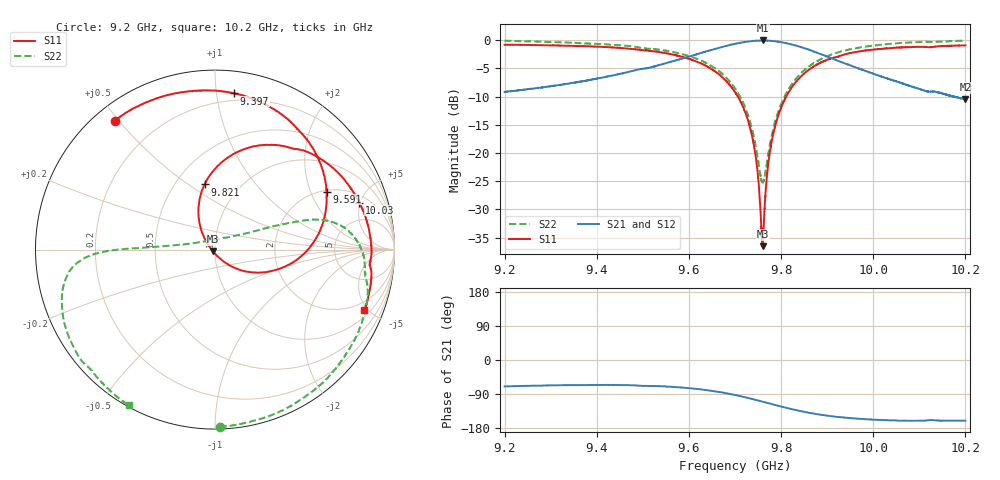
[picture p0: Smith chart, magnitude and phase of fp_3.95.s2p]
!Agilent Technologies,N5242A,MY51221714,A.09.90.19
!Agilent N5242A: A.09.90.19
!Date: Saturday, March 16, 2024 09:18:51
!Correction: S11(Full 2 Port(1,2))
!S21(Full 2 Port(1,2))
!S12(Full 2 Port(1,2))
!S22(Full 2 Port(1,2))
!S2P File: Measurements: S11, S21, S12, S22:
# Hz S  dB  R 50
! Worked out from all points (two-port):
!   16001 points, 9.2 GHz to 10.2 GHz, reference 50 ohm
!   highest |S21| = -0.05 dB at 9.761 GHz (marker M1); lowest = -10.5 dB at 10.2 GHz (marker M2)
!   |S21| within 3 dB of the highest: 9.594399 GHz to 9.594548 GHz (149.5 kHz wide, 0.00156 % of centre); 9.595 GHz to 9.905 GHz (310.3 MHz wide, 3.18 % of centre)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
!   lowest |S11| = -36.5 dB at 9.76 GHz (marker M3), VSWR 1.03, Z = 48.8 - j0.907 ohm
!   |S11| at or under -10 dB: 9.706 GHz to 9.811 GHz (105.1 MHz wide, 1.08 % of centre)
!   |S22| runs from -25.3 to -0.1 dB; largest |S21 - S12| = 0.013
!   S11 on the Smith chart (normalised r, x): 9.2 GHz: 0.06, +0.49; 9.397 GHz: 0.15, +1.12; 9.591 GHz: 2.05, +2.61; 9.821 GHz: 0.69, +0.58; 10.03 GHz: 2.67, +4.89; 10.2 GHz: 1.35, -4.73
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9.2e9  -0.83 127.7  -9.18 -69.7  -9.16 -70.3  -0.09 -88.4
9.27775e9  -0.89 110.7  -8.42 -67.5  -8.40 -68.0  -0.26 -66.4
9.366688e9  -1.05 90.4  -7.31 -66.0  -7.31 -66.5  -0.54 -42.2
9.397188e9  -1.14 83.0  -6.86 -65.7  -6.85 -66.3  -0.65 -34.0
9.533375e9  -2.09 46.4  -4.47 -69.0  -4.46 -69.4  -1.67 -1.5
9.590625e9  -3.09 27.5  -3.14 -73.3  -3.13 -73.9  -2.60 8.8
9.645312e9  -4.93 6.4  -1.82 -80.7  -1.82 -81.2  -4.42 16.2
9.7e9  -9.20 -19.6  -0.66 -92.3  -0.62 -93.0  -8.55 21.1
9.73775e9  -17.25 -44.5  -0.16 -103.0  -0.14 -103.6  -16.01 31.1
9.747312e9  -22.14 -54.6  -0.09 -105.9  -0.08 -106.6  -19.90 43.0
9.756438e9  -32.11 -86.1  -0.07 -108.8  -0.06 -109.5  -24.46 76.0
9.75975e9  -36.52 -141.6  -0.06 -109.9  -0.05 -110.5  -25.28 97.3
9.761e9  -35.50 -172.8  -0.05 -110.3  -0.06 -110.9  -25.19 105.8
9.771125e9  -22.68 135.2  -0.08 -113.6  -0.08 -114.1  -20.77 152.8
9.781e9  -17.39 124.9  -0.14 -116.7  -0.13 -117.4  -16.37 167.3
9.820625e9  -8.69 99.1  -0.72 -128.9  -0.71 -129.5  -8.16 178.4
9.866688e9  -4.88 75.5  -1.89 -140.6  -1.87 -141.1  -4.30 -179.1
9.937625e9  -2.54 46.9  -4.08 -152.0  -4.09 -152.5  -1.85 -172.4
1.002988e10  -1.46 18.0  -6.79 -158.8  -6.79 -159.4  -0.70 -156.9
1.003338e10  -1.44 17.0  -6.88 -159.1  -6.87 -159.5  -0.67 -156.2
1.011175e10  -1.20 -3.2  -8.96 -159.9  -8.95 -160.5  -0.29 -140.0
1.02e10  -0.93 -22.2  -10.50 -160.2  -10.49 -160.8  -0.08 -118.9
